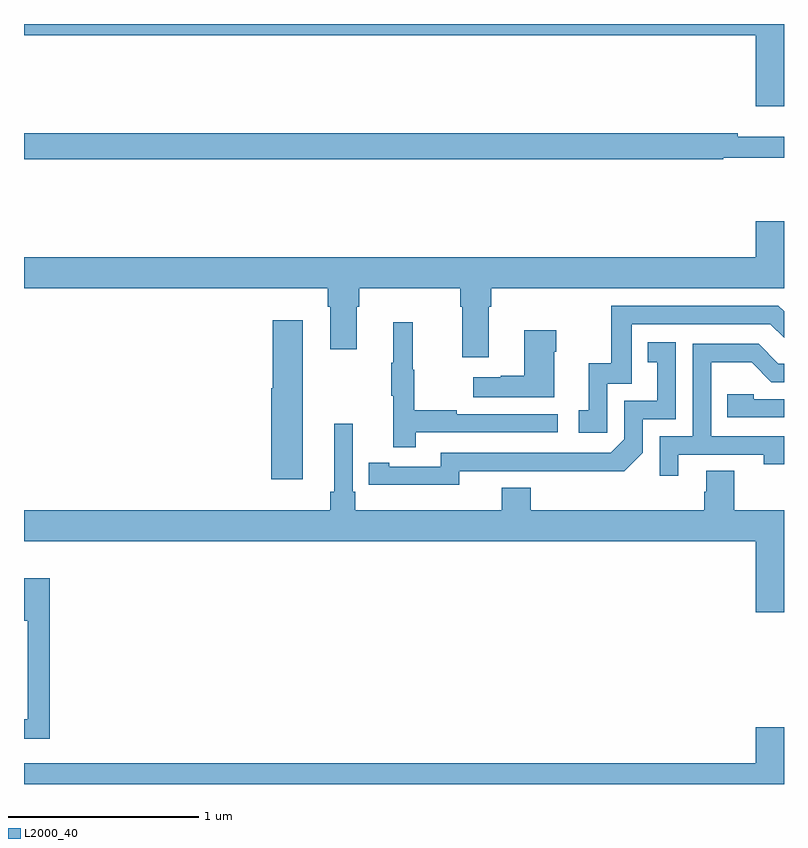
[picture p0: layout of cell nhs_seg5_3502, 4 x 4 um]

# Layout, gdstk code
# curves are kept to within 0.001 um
import gdstk
lib = gdstk.Library(unit=1e-6, precision=1e-09)
def P(c, l, *ps):  # polygons
    for p in ps: c.add(gdstk.Polygon(p, *l))
L2000_40 = (2000, 40)

nhs_seg5_3502 = lib.new_cell('nhs_seg5_3502')
P(nhs_seg5_3502, L2000_40, [(321,876.799),(317,876.799),(317,876.74),(320.852,876.74),(320.852,876.366),(321,876.366)],
  [(320.68,876.096),(321,876.096),(321,876.205),(320.756,876.205),(320.756,876.224),(317,876.224),(317,876.088),(320.68,876.088)],
  [(319.447,875.312),(319.46,875.312),(319.46,875.408),(321,875.408),(321,875.761),(320.852,875.761),(320.852,875.572),(317,875.572),(317,875.408),(318.599,875.408),(318.599,875.312),(318.611,875.312),(318.611,875.088),(318.751,875.088),(318.751,875.312),(318.764,875.312),(318.764,875.408),(319.295,875.408),(319.295,875.312),(319.307,875.312),(319.307,875.046),(319.447,875.046)],
  [(320.07,874.905),(320.199,874.905),(320.199,875.22),(320.928,875.22),(321,875.148),(321,875.286),(320.97,875.316),(320.091,875.316),(320.091,875.014),(319.973,875.014),(319.973,874.767),(319.92,874.767),(319.92,874.647),(320.07,874.647)],
  [(318.466,875.239),(318.308,875.239),(318.308,874.881),(318.302,874.881),(318.302,874.404),(318.466,874.404)],
  [(319.061,874.65),(319.81,874.65),(319.81,874.746),(319.277,874.746),(319.277,874.766),(319.054,874.766),(319.054,874.98),(319.046,874.98),(319.046,875.23),(318.944,875.23),(318.944,875.017),(318.933,875.017),(318.933,874.843),(318.944,874.843),(318.944,874.572),(319.061,874.572)],
  [(319.792,875.075),(319.8,875.075),(319.8,875.188),(319.634,875.188),(319.634,874.949),(319.508,874.949),(319.508,874.939),(319.365,874.939),(319.365,874.835),(319.792,874.835)],
  [(319.29,874.446),(320.158,874.445),(320.256,874.542),(320.256,874.719),(320.43,874.719),(320.43,875.125),(320.284,875.125),(320.284,875.019),(320.333,875.019),(320.333,874.815),(320.16,874.815),(320.16,874.614),(320.088,874.542),(319.194,874.542),(319.194,874.47),(318.922,874.47),(318.922,874.49),(318.814,874.49),(318.814,874.374),(319.29,874.373)],
  [(320.443,874.533),(320.894,874.533),(320.894,874.482),(321,874.482),(321,874.629),(320.616,874.629),(320.616,875.018),(320.83,875.018),(320.934,874.914),(321,874.914),(321,875.01),(320.971,875.01),(320.866,875.115),(320.52,875.115),(320.52,874.629),(320.346,874.629),(320.346,874.422),(320.443,874.422)],
  [(321,874.824),(320.841,874.824),(320.841,874.851),(320.701,874.851),(320.701,874.728),(321,874.728)],
  [(321,874.24),(320.739,874.24),(320.739,874.448),(320.591,874.448),(320.591,874.338),(320.579,874.338),(320.579,874.24),(319.667,874.24),(319.667,874.357),(319.514,874.357),(319.514,874.24),(318.743,874.24),(318.743,874.336),(318.729,874.336),(318.729,874.696),(318.632,874.696),(318.632,874.336),(318.613,874.336),(318.613,874.24),(317,874.24),(317,874.076),(320.852,874.076),(320.852,873.702),(321,873.702)],
  [(317.135,873.883),(317,873.883),(317,873.657),(317.019,873.657),(317.019,873.141),(317,873.141),(317,873.036),(317.135,873.036)],
  [(321,873.097),(320.852,873.097),(320.852,872.908),(317,872.908),(317,872.799),(321,872.799)])

lib.write_gds('nhs_seg5_3502.gds')
